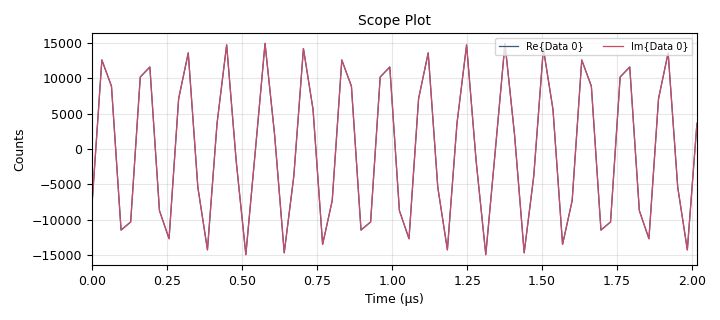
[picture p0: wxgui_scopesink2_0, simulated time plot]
<?xml version='1.0' encoding='utf-8'?>
<flow_graph>
<block>
<key>options</key>
<param><key>id</key><value>langford_tx_dc</value></param>
<param><key>generate_options</key><value>wx_gui</value></param>
<param><key>category</key><value>Custom</value></param>
</block>
<block>
<key>variable</key>
<param><key>id</key><value>samp_rate</value></param>
<param><key>value</key><value>250e6/8</value></param>
</block>
<block>
<key>gr_file_sink</key>
<param><key>id</key><value>gr_file_sink_0</value></param>
<param><key>file</key><value>/dev/langford</value></param>
<param><key>type</key><value>short</value></param>
<param><key>vlen</key><value>1</value></param>
<param><key>unbuffered</key><value>False</value></param>
</block>
<block>
<key>gr_sig_source_x</key>
<param><key>id</key><value>gr_sig_source_x_0</value></param>
<param><key>type</key><value>short</value></param>
<param><key>samp_rate</key><value>samp_rate</value></param>
<param><key>waveform</key><value>gr.GR_SIN_WAVE</value></param>
<param><key>freq</key><value>freq</value></param>
<param><key>amp</key><value>amp</value></param>
<param><key>offset</key><value>offset</value></param>
</block>
<block>
<key>variable_slider</key>
<param><key>id</key><value>offset</value></param>
<param><key>label</key><value></value></param>
<param><key>value</key><value>0</value></param>
<param><key>min</key><value>0</value></param>
<param><key>max</key><value>32765</value></param>
<param><key>num_steps</key><value>100</value></param>
<param><key>style</key><value>wx.SL_HORIZONTAL</value></param>
<param><key>converver</key><value>int_converter</value></param>
</block>
<block>
<key>variable_slider</key>
<param><key>id</key><value>amp</value></param>
<param><key>label</key><value></value></param>
<param><key>value</key><value>15e3</value></param>
<param><key>min</key><value>0</value></param>
<param><key>max</key><value>33000</value></param>
<param><key>num_steps</key><value>1000</value></param>
<param><key>style</key><value>wx.SL_HORIZONTAL</value></param>
<param><key>converver</key><value>int_converter</value></param>
</block>
<block>
<key>blocks_interleave</key>
<param><key>id</key><value>blocks_interleave_0</value></param>
<param><key>type</key><value>short</value></param>
</block>
<block>
<key>blocks_interleaved_short_to_complex</key>
<param><key>id</key><value>blocks_interleaved_short_to_complex_0</value></param>
</block>
<block>
<key>wxgui_scopesink2</key>
<param><key>id</key><value>wxgui_scopesink2_0</value></param>
<param><key>type</key><value>complex</value></param>
<param><key>title</key><value>Scope Plot</value></param>
<param><key>samp_rate</key><value>samp_rate</value></param>
<param><key>v_scale</key><value>0</value></param>
<param><key>v_offset</key><value>0</value></param>
<param><key>t_scale</key><value>0</value></param>
<param><key>ac_couple</key><value>False</value></param>
<param><key>xy_mode</key><value>False</value></param>
<param><key>num_inputs</key><value>1</value></param>
<param><key>trig_mode</key><value>gr.gr_TRIG_MODE_AUTO</value></param>
<param><key>y_axis_label</key><value>Counts</value></param>
</block>
<block>
<key>variable_slider</key>
<param><key>id</key><value>freq</value></param>
<param><key>label</key><value></value></param>
<param><key>value</key><value>7.5e6</value></param>
<param><key>min</key><value>0</value></param>
<param><key>max</key><value>samp_rate/2</value></param>
<param><key>num_steps</key><value>100</value></param>
<param><key>style</key><value>wx.SL_HORIZONTAL</value></param>
<param><key>converver</key><value>float_converter</value></param>
</block>
<connection><source_block_id>blocks_interleaved_short_to_complex_0</source_block_id><sink_block_id>wxgui_scopesink2_0</sink_block_id><source_key>0</source_key><sink_key>0</sink_key></connection>
<connection><source_block_id>gr_sig_source_x_0</source_block_id><sink_block_id>blocks_interleave_0</sink_block_id><source_key>0</source_key><sink_key>0</sink_key></connection>
<connection><source_block_id>blocks_interleave_0</source_block_id><sink_block_id>gr_file_sink_0</sink_block_id><source_key>0</source_key><sink_key>0</sink_key></connection>
<connection><source_block_id>gr_sig_source_x_0</source_block_id><sink_block_id>blocks_interleave_0</sink_block_id><source_key>0</source_key><sink_key>1</sink_key></connection>
<connection><source_block_id>blocks_interleave_0</source_block_id><sink_block_id>blocks_interleaved_short_to_complex_0</sink_block_id><source_key>0</source_key><sink_key>0</sink_key></connection>
</flow_graph>
